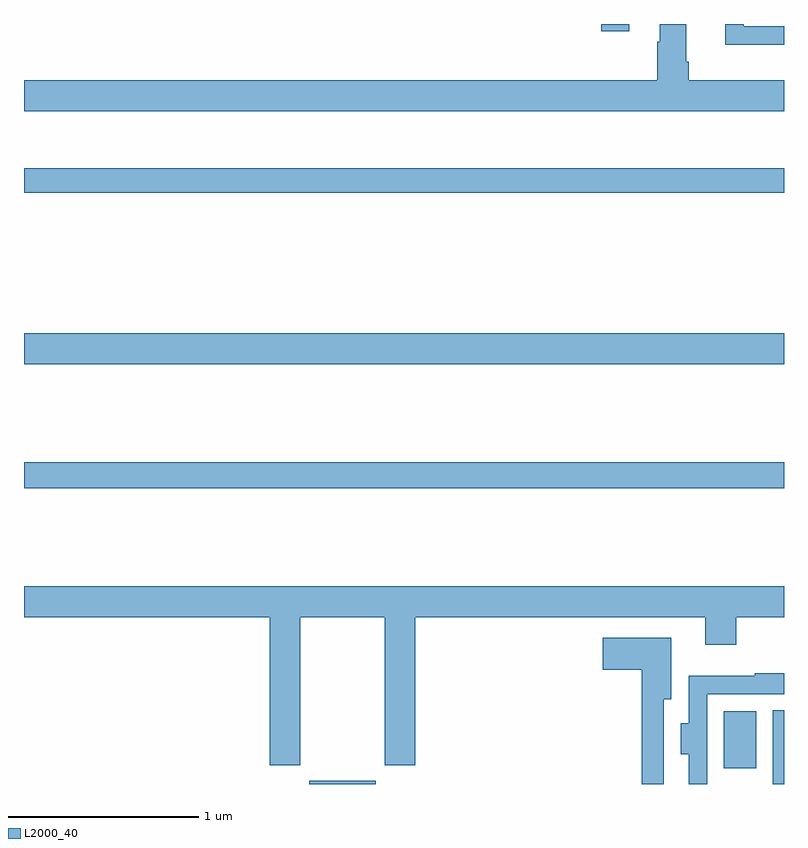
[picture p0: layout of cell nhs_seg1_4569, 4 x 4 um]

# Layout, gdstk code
import gdstk
lib = gdstk.Library(unit=1e-6, precision=1e-09)
def R(c, l, rs):  # rectangles x0, y0, x1, y1
    for r in rs: c.add(gdstk.rectangle(r[:2], r[2:], *l))
def P(c, l, *ps):  # polygons
    for p in ps: c.add(gdstk.Polygon(p, *l))
L2000_40 = (2000, 40)

nhs_seg1_4569 = lib.new_cell('nhs_seg1_4569')
R(nhs_seg1_4569, L2000_40, [(360.5,540.199,360.85,540.217), (362.942,540.199,363,540.587), (362.684,540.281,362.854,540.583), (359,541.756,363,541.892), (359,542.408,363,542.572), (359,543.31,363,543.439), (362.037,544.161,362.185,544.199)])
P(nhs_seg1_4569, L2000_40, [(363,543.904),(362.498,543.904),(362.498,544),(362.485,544),(362.485,544.199),(362.345,544.199),(362.345,544.106),(362.333,544.106),(362.333,543.904),(359,543.904),(359,543.74),(363,543.74)],
  [(363,544.188),(362.787,544.188),(362.787,544.199),(362.69,544.199),(362.69,544.091),(363,544.091)],
  [(360.453,541.076),(360.898,541.076),(360.898,540.297),(361.058,540.297),(361.058,541.076),(362.585,541.076),(362.585,540.933),(362.749,540.933),(362.749,541.076),(363,541.076),(363,541.24),(359,541.24),(359,541.076),(360.293,541.076),(360.293,540.297),(360.453,540.297)],
  [(362.367,540.644),(362.407,540.644),(362.407,540.97),(362.046,540.97),(362.046,540.8),(362.251,540.8),(362.251,540.199),(362.367,540.199)],
  [(362.595,540.672),(363,540.672),(363,540.781),(362.845,540.781),(362.845,540.769),(362.499,540.769),(362.499,540.52),(362.456,540.52),(362.456,540.356),(362.498,540.356),(362.498,540.199),(362.595,540.199)])

lib.write_gds('nhs_seg1_4569.gds')
